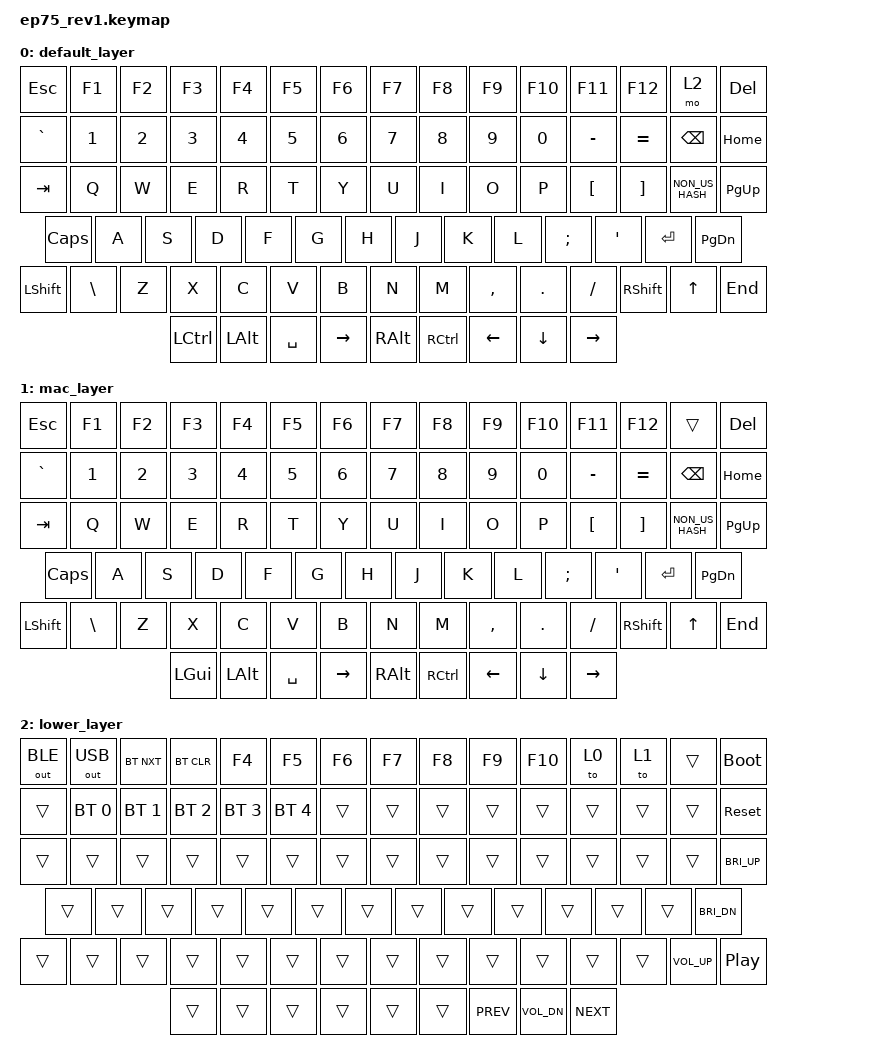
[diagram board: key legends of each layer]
#include <behaviors.dtsi>
#include <dt-bindings/zmk/keys.h>
#include <dt-bindings/zmk/bt.h>
#include <dt-bindings/zmk/outputs.h>
/ {
	keymap {
		compatible = "zmk,keymap";

		default_layer {
// NEED TO UPDATE THIS
// ------------------------------------------------------------------------------------------
// |  |  1  |  2  |  3  |  4  |  5  |  6  |  7  |  8  |  9  |  0  |  -  |  =  |   BKSP   |
// | TAB  |  Q  |  W  |  E  |  R  |  T  |  Y  |  U  |  I  |  O  |  P  |  [  |  ]  |   "|"   |
// | CAPS  |  A  |  S  |  D  |  F  |  G  |  H  |  J  |  K  |  L  |  ;  |  '  |     ENTER    |
// |  SHIFT  |  Z  |  X  |  C  |  V  |  B  |  N  |  M  |  ,  |  .  |  SHIFT(/)  |  ^  | DEL |
// |  CTL  |  WIN  |  ALT  |            SPACE               | ALT | MO(1) |  <- |  v  | ->  |
// ------------------------------------------------------------------------------------------
			bindings = <
	&kp ESC  &kp F1   &kp F2 &kp F3 &kp F4 &kp F5 &kp F6 &kp F7 &kp  F8   &kp  F9   &kp F10  &kp F11   &kp F12   &mo 2  &kp DEL
	&kp GRAVE  &kp N1   &kp N2 &kp N3 &kp N4 &kp N5 &kp N6 &kp N7 &kp  N8   &kp  N9   &kp  N0  &kp MINUS &kp EQUAL &kp BSPC        &kp HOME
	&kp TAB    &kp Q   &kp W  &kp E  &kp R  &kp T  &kp Y  &kp U  &kp  I    &kp  O    &kp  P   &kp LBKT  &kp RBKT  &kp NON_US_HASH &kp PG_UP
	&kp CLCK   &kp A    &kp S  &kp D  &kp F  &kp G  &kp H  &kp J  &kp  K    &kp  L    &kp SEMI &kp SQT             &kp RET         &kp PG_DN
	&kp LSHFT  &kp BSLH &kp Z  &kp X  &kp C  &kp V  &kp B  &kp N  &kp  M    &kp COMMA &kp DOT  &kp FSLH  &kp RSHFT &kp  UP         &kp END
	&kp LCTRL  &kp LALT                             &kp SPACE            &kp RIGHT    &kp RALT &kp RCTRL &kp LEFT  &kp DOWN        &kp RIGHT
			>;
		};
		mac_layer {
// NEED TO UPDATE THIS
// ------------------------------------------------------------------------------------------
// |  |  1  |  2  |  3  |  4  |  5  |  6  |  7  |  8  |  9  |  0  |  -  |  =  |   BKSP   |
// | TAB  |  Q  |  W  |  E  |  R  |  T  |  Y  |  U  |  I  |  O  |  P  |  [  |  ]  |   "|"   |
// | CAPS  |  A  |  S  |  D  |  F  |  G  |  H  |  J  |  K  |  L  |  ;  |  '  |     ENTER    |
// |  SHIFT  |  Z  |  X  |  C  |  V  |  B  |  N  |  M  |  ,  |  .  |  SHIFT(/)  |  ^  | DEL |
// |  CTL  |  WIN  |  ALT  |            SPACE               | ALT | MO(1) |  <- |  v  | ->  |
// ------------------------------------------------------------------------------------------
			bindings = <
	&kp ESC  &kp F1   &kp F2 &kp F3 &kp F4 &kp F5 &kp F6 &kp F7 &kp  F8   &kp  F9   &kp F10  &kp F11   &kp F12   &trans  &kp DEL
	&kp GRAVE  &kp N1   &kp N2 &kp N3 &kp N4 &kp N5 &kp N6 &kp N7 &kp  N8   &kp  N9   &kp  N0  &kp MINUS &kp EQUAL &kp BSPC        &kp HOME
	&kp TAB    &kp Q   &kp W  &kp E  &kp R  &kp T  &kp Y  &kp U  &kp  I    &kp  O    &kp  P   &kp LBKT  &kp RBKT  &kp NON_US_HASH &kp PG_UP
	&kp CLCK   &kp A    &kp S  &kp D  &kp F  &kp G  &kp H  &kp J  &kp  K    &kp  L    &kp SEMI &kp SQT             &kp RET         &kp PG_DN
	&kp LSHFT  &kp BSLH &kp Z  &kp X  &kp C  &kp V  &kp B  &kp N  &kp  M    &kp COMMA &kp DOT  &kp FSLH  &kp RSHFT &kp  UP         &kp END
	&kp LGUI   &kp LALT                             &kp SPACE            &kp RIGHT    &kp RALT &kp RCTRL &kp LEFT  &kp DOWN        &kp RIGHT
			>;
		};
						lower_layer {
// NEED TO UPDATE THIS
// ------------------------------------------------------------------------------------------
// |  |  1  |  2  |  3  |  4  |  5  |  6  |  7  |  8  |  9  |  0  |  -  |  =  |   BKSP   |
// | TAB  |  Q  |  W  |  E  |  R  |  T  |  Y  |  U  |  I  |  O  |  P  |  [  |  ]  |   "|"   |
// | CAPS  |  A  |  S  |  D  |  F  |  G  |  H  |  J  |  K  |  L  |  ;  |  '  |     ENTER    |
// |  SHIFT  |  Z  |  X  |  C  |  V  |  B  |  N  |  M  |  ,  |  .  |  SHIFT(/)  |  ^  | DEL |
// |  CTL  |  WIN  |  ALT  |            SPACE               | ALT | MO(1) |  <- |  v  | ->  |
// ------------------------------------------------------------------------------------------
			bindings = <
	&out OUT_BLE  &out OUT_USB   &bt BT_NXT &bt BT_CLR &kp F4 &kp F5 &kp F6 &kp F7 &kp  F8   &kp  F9   &kp F10  &to 0   &to 1   &trans &bootloader
	&trans  &bt BT_SEL 0  &bt BT_SEL 1 &bt BT_SEL 2 &bt BT_SEL 3 &bt BT_SEL 4 &trans  &trans  &trans  &trans  &trans  &trans &trans &trans        &sys_reset
	&trans   &trans  &trans  &trans  &trans &trans  &trans  &trans  &trans  &trans  &trans   &trans  &trans  &trans &kp C_BRI_UP  
	&trans   &trans  &trans  &trans  &trans &trans  &trans  &trans  &trans  &trans  &trans  &trans               &trans           &kp C_BRI_DN
	&trans    &trans  &trans  &trans  &trans  &trans  &trans    &trans  &trans  &trans  &trans  &trans  &trans   &kp C_VOL_UP           &kp C_PP
	&trans  &trans                             &trans         &trans  &trans  &trans   &kp C_PREV    &kp C_VOL_DN          &kp C_NEXT
			>;
		};
	};
};
